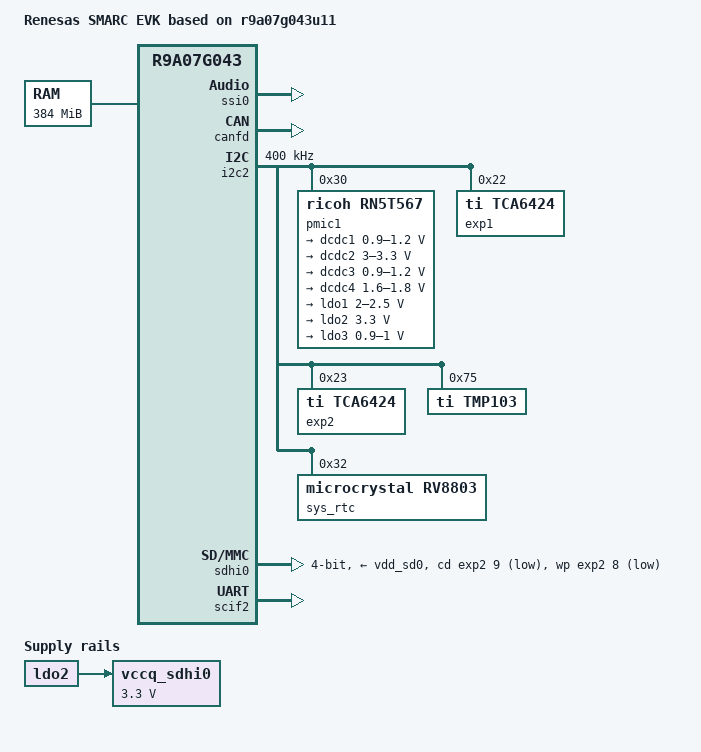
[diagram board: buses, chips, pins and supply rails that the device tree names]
/*
 * Copyright (C) 2023 Avnet Embedded GmbH
 *
 * This program is free software; you can redistribute it and/or
 * modify it under the terms of the GNU General Public License as
 * published by the Free Software Foundation version 2.
 *
 * This program is distributed "as is" WITHOUT ANY WARRANTY of any
 * kind, whether express or implied; without even the implied warranty
 * of MERCHANTABILITY or FITNESS FOR A PARTICULAR PURPOSE.  See the
 * GNU General Public License for more details.
 */

/dts-v1/;
#include "msc-sm2s-g2ul-dv1-module.dtsi"

/ {
	model = "Renesas SMARC EVK based on r9a07g043u11";
	compatible = "renesas,smarc-evk", "renesas,r9a07g043u11", "renesas,r9a07g043";

	memory@48000000 {
				device_type = "memory";
				/* first 128MB is reserved for secure area. */
				reg = <0x0 0x48000000 0x0 0x18000000>;
		};

		reserved-memory {
				#address-cells = <2>;
				#size-cells = <2>;
				ranges;

				global_cma: linux,cma@58000000 {
						compatible = "shared-dma-pool";
						linux,cma-default;
						reusable;
						reg = <0x0 0x58000000 0x0 0x1000000>;
				};
				mmp_reserved: linux,multimedia {
						compatible = "shared-dma-pool";
						reusable;
						reg = <0x00000000 0x59000000 0x0 0x1000000>;
				};
		};

	/* For SD Card we use USH mode and use 1.8 V */
	vccq_sdhi0: regulator-vccq-sdhi0 {
		compatible = "regulator-fixed";
		regulator-name = "SDHI0 VccQ";
		regulator-min-microvolt = <3300000>;
		regulator-max-microvolt = <3300000>;
		vin-supply = <&ldo2>;
		regulator-always-on;
                regulator-boot-on;
	};
};

&pinctrl {
	ssi0_pins: ssi0 {
		pinmux = <RZG2L_PORT_PINMUX(11, 0, 1)>, /* SSI0_BCK */
			<RZG2L_PORT_PINMUX(11, 1, 1)>, /* SSI0_RCK */
			<RZG2L_PORT_PINMUX(11, 2, 1)>, /* SSI0_TXD */
			<RZG2L_PORT_PINMUX(11, 3, 1)>; /*SSI0_RXD*/
	};

	canfd1_pins: can1 {
		pinmux = <RZG2L_PORT_PINMUX(14, 0, 3)>,
			<RZG2L_PORT_PINMUX(14, 1, 3)>;
	};
};

&ssi0 {
	pinctrl-0 = <&ssi0_pins>;
	pinctrl-names = "default";
	status = "okay";
};

&canfd {
	pinctrl-0 = <&canfd1_pins>;
	pinctrl-names = "default";
	status = "okay";
	channel1 {
		status = "okay";
	};
};

&i2c2 {
	#address-cells = <1>;
	#size-cells = <0>;
	pinctrl-names = "default";
	pinctrl-0 = <&i2c2_pins>;
	clock-frequency = <400000>;
	status="okay";

	pmic1: pmic@30 {
		compatible = "ricoh,rn5t567";
		reg = <0x30>;
		pmic-id = <0>;
		sleep-sequence = /bits/ 8 <
					0x16    0x2b
					0x17    0x49
					0x1b    0x2b
					0x1c    0x67
					0x1f    0x0b
					0x32    0x03
					0x30    0x03
				>;
		regulators {

			dcdc1:DCDC1 {
					regulator-name = "VCC_DRAM_VPU_0V9";
					regulator-always-on;
					regulator-min-microvolt = <900000>;
					regulator-max-microvolt = <1200000>;
			};

			dcdc2:DCDC2 {
					regulator-name = "VCC_ARM_0V9";
					regulator-always-on;
					regulator-min-microvolt = <3000000>;
					regulator-max-microvolt = <3300000>;
			};

			dcdc3:DCDC3 {
					regulator-name = "VCC_DDR_1V2";
					regulator-always-on;
					regulator-min-microvolt = <900000>;
					regulator-max-microvolt = <1200000>;
			};

			dcdc4:DCDC4 {
					regulator-name = "VCC_SYS_1V8";
					regulator-always-on;
					regulator-min-microvolt = <1600000>;
					regulator-max-microvolt = <1800000>;
			};

			ldo1:LDO1 {
					regulator-name = "VCC_PHY_2V5";
					regulator-always-on;
					regulator-min-microvolt = <2000000>;
					regulator-max-microvolt = <2500000>;
			};

			/* For SD Card we use USH mode and use 1.8 V */
			ldo2:LDO2 {
					regulator-name = "VCC_LDO2_1V8";
					regulator-always-on;
					regulator-min-microvolt = <3300000>;
					regulator-max-microvolt = <3300000>;
			};

			ldo3:LDO3 {
					regulator-name = "VCC_LDO3_1V0";
					regulator-always-on;
					regulator-min-microvolt = <900000>;
					regulator-max-microvolt = <1000000>;
			};
		};
	};

	exp1: gpio@22 {
			compatible = "ti,tca6424";
			reg = <0x22>;
			gpio-controller;
			#gpio-cells = <2>;
	};

	exp2: gpio@23 {
			compatible = "ti,tca6424";
			reg = <0x23>;
			gpio-controller;
			#gpio-cells = <2>;
	};

	tmp103: tmp103@75 {
			compatible = "ti,tmp103";
			reg = <0x75>;
	};

	sys_rtc: rtc@32 {
			compatible = "microcrystal,rv8803";
			reg = <0x32>;
	};
};

&sdhi0 {
        pinctrl-0 = <&sdhi0_pins>;
        pinctrl-1 = <&sdhi0_pins_uhs>;
        pinctrl-names = "default", "state_uhs";
        vmmc-supply = <&vdd_sd0>;
        vqmmc-supply = <&vccq_sdhi0>;
        bus-width = <4>;
        /*sd-uhs-sdr50;*/
        /*sd-uhs-sdr104;*/
        wp-gpios = <&exp2 8 GPIO_ACTIVE_LOW>; /* SD0_WP */
        cd-gpios = <&exp2 9 GPIO_ACTIVE_LOW>; /* SD0_CD */
        status = "okay";
        disable-wp;
};

/* BT_UART */
&scif2 {
		pinctrl-0 = <&scif2_pins>;
		pinctrl-names = "default";
		uart-has-rtscts;
		/* resets = <&bt_reset>;*/
		status = "okay";
};
